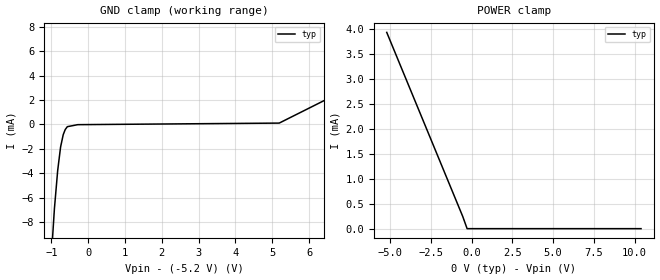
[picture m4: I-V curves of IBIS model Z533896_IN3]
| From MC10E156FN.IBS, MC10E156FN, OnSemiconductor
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| (C) COPYRIGHT 1993-2000
| MENTOR GRAPHICS CORPORATION
| ICX STANDARD LIBRARY, ICX PROJECT MODELING,
| ICX CUSTOM MODELING, ICX VENDOR MODEL
| ALL RIGHTS RESERVED.
| THE FOLLOWING ARE TRADEMARKS OR SERVICE MARKS OF
| MENTOR GRAPHICS CORPORATION:ICX (R), ICX STANDARD
| LIBRARY(R), ICX PROJECT MODELING(R), ICX CUSTOM
| MODELING(R), qualityIBIS(TM), MODELVIEWER(TM),
| AND MODELEDITOR(TM)
| ALL COPIES OF SOFTWARE, INCLUDING BUT NOT LIMITED TO
| ANY MODIFICATIONS, ENHANCEMENTS OR DERIVATIVE WORKS,
| MUST CONTAIN ALL MENTOR GRAPHICS CORPORATION'S
| NOTICES AND LEGENDS, INCLUDING THOSE EMBEDDED IN
| SOFTWARE AND THOSE AFFIXED TO SOFTWARE MEDIUM
| AND CONTAINER, AS RECEIVED FROM MENTOR GRAPHICS
| CORPORATION.
| Model Application Version 1.89 2/18/99.
[Model] Z533896_IN3
Model_type Input_ECL
Vinl = -1.480V
Vinh = -1.130V
C_comp 4.000pF NA NA
| variable typ   min   max
[Voltage Range] -5.200V NA NA
[GND Clamp Reference] -5.200V NA NA
[POWER Clamp Reference] 0.000V NA NA
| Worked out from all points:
|   GND clamp passes 1 mA (typ) near -0.69 V on its own axis
[GND Clamp]
-5.2V     -322.8mA   NA         NA
-1.011V   -11.32mA   NA         NA
-918mV    -6.922mA   NA         NA
-829mV    -3.785mA   NA         NA
-750mV    -1.852mA   NA         NA
-679mV    -845.6uA   NA         NA
-625mV    -426.3uA   NA         NA
-567mV    -185.3uA   NA         NA
-283.5mV  -19.61uA   NA         NA
5.19V     109.4uA    NA         NA
10.4V     7.997mA    NA         NA
[POWER Clamp]
-5.2V     3.932mA    NA         NA
-539.4mV  245.4uA    NA         NA
-269.7mV  0A         NA         NA
10.4V     0A         NA         NA
